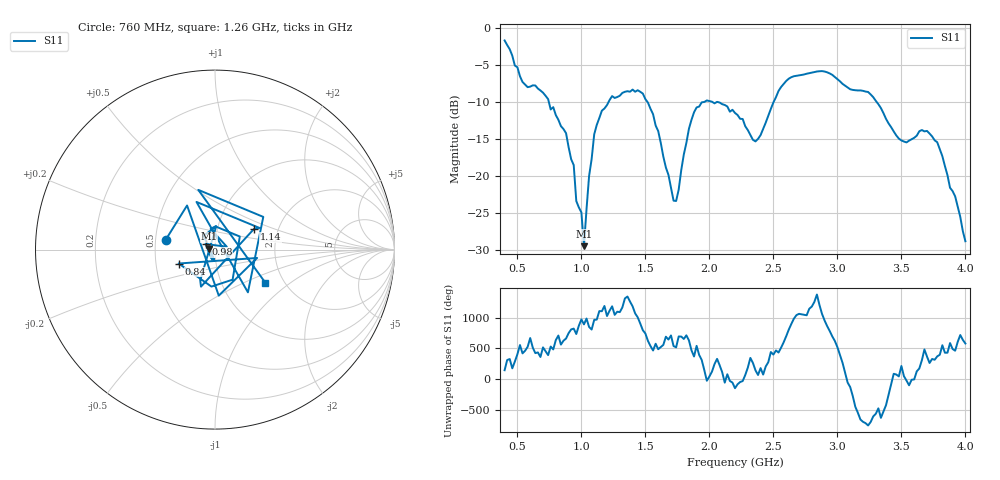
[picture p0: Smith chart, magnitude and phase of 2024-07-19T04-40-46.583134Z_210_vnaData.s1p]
!Created with skrf (http://scikit-rf.org).
# Hz S RI R 50.0
!freq ReS11 ImS11
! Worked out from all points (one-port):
!   181 points, 400 MHz to 4 GHz, reference 50 ohm
!   lowest |S11| = -29.5 dB at 1.02 GHz (marker M1), VSWR 1.07, Z = 46.8 + j0.495 ohm
!   |S11| at or under -10 dB: 745.2 MHz to 1.213 GHz (467.9 MHz wide, 47.8 % of centre); 2.021 GHz to 2.502 GHz (481.3 MHz wide, 21.3 % of centre); 3.306 GHz to end of sweep (the widest 3 of 4)
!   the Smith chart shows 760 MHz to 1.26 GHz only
!   S11 on the Smith chart (normalised r, x): 760 MHz: 0.57, +0.06; 840 MHz: 0.66, -0.11; 980 MHz: 0.90, +0.06; 1.14 GHz: 1.50, +0.37; 1.26 GHz: 1.61, -0.67
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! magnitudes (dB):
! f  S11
! 400 MHz  -1.7
! 540 MHz  -7.3
! 760 MHz  -11.0
! 840 MHz  -13.3
! 860 MHz  -13.7
! 940 MHz  -18.5
! 960 MHz  -23.4
! 980 MHz  -24.3
! 1 GHz  -24.9
! 1.02 GHz  -29.5
! 1.06 GHz  -20.0
! 1.14 GHz  -12.2
! 1.26 GHz  -9.5
! 1.3 GHz  -9.2
! 1.48 GHz  -8.9
! 1.6 GHz  -14.0
! 1.72 GHz  -23.4
! 1.76 GHz  -21.9
! 1.84 GHz  -13.6
! 1.9 GHz  -10.8
! 2.2 GHz  -11.5
! 2.36 GHz  -15.3
! 2.66 GHz  -6.5
! 3.1 GHz  -8.3
! 3.24 GHz  -8.7
! 3.56 GHz  -15.2
! 3.78 GHz  -15.5
! 4 GHz  -28.8
